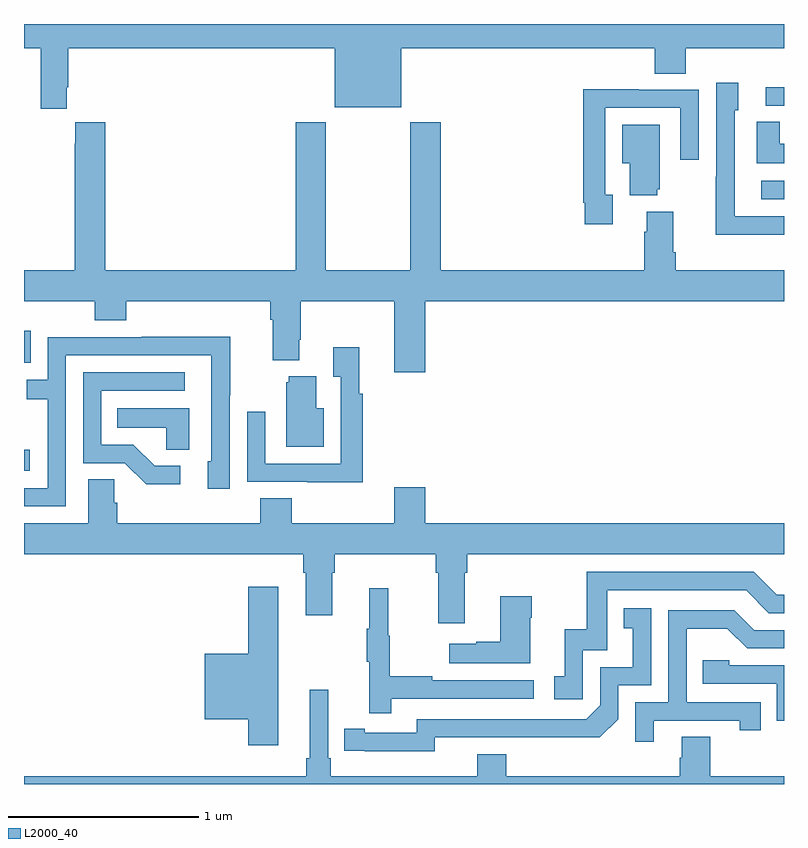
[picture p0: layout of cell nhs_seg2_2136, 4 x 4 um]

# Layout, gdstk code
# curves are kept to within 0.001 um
import gdstk
lib = gdstk.Library(unit=1e-6, precision=1e-09)
def R(c, l, rs):  # rectangles x0, y0, x1, y1
    for r in rs: c.add(gdstk.rectangle(r[:2], r[2:], *l))
def P(c, l, *ps):  # polygons
    for p in ps: c.add(gdstk.Polygon(p, *l))
L2000_40 = (2000, 40)

nhs_seg2_2136 = lib.new_cell('nhs_seg2_2136')
R(nhs_seg2_2136, L2000_40, [(223,609.449,223.03,609.559), (223,610.017,223.035,610.186), (226.881,610.878,227,610.974), (226.905,611.37,227,611.468)])
P(nhs_seg2_2136, L2000_40, [(223.225,611.467),(223.232,611.467),(223.232,611.672),(224.636,611.672),(224.636,611.363),(224.986,611.363),(224.986,611.672),(226.319,611.672),(226.319,611.539),(226.484,611.539),(226.484,611.672),(227,611.672),(227,611.8),(223,611.8),(223,611.672),(223.088,611.672),(223.088,611.355),(223.225,611.355)],
  [(227,610.788),(226.74,610.788),(226.74,611.346),(226.759,611.346),(226.759,611.491),(226.644,611.491),(226.644,610.997),(226.642,610.997),(226.642,610.691),(227,610.691)],
  [(226.099,610.902),(226.059,610.902),(226.059,611.358),(226.455,611.358),(226.455,611.085),(226.551,611.085),(226.551,611.454),(226.235,611.454),(226.235,611.456),(225.943,611.456),(225.943,610.858),(225.951,610.858),(225.951,610.746),(226.099,610.746)],
  [(227,611.17),(226.977,611.17),(226.977,611.285),(226.856,611.285),(226.856,611.066),(227,611.066)],
  [(225.034,610.504),(224.589,610.504),(224.589,611.284),(224.429,611.284),(224.429,610.504),(223.427,610.504),(223.427,611.284),(223.271,611.284),(223.271,611.171),(223.267,611.171),(223.267,610.504),(223,610.504),(223,610.34),(223.373,610.34),(223.373,610.241),(223.538,610.241),(223.538,610.34),(224.297,610.34),(224.297,610.244),(224.309,610.244),(224.309,610.031),(224.449,610.031),(224.449,610.138),(224.457,610.138),(224.457,610.34),(224.948,610.34),(224.948,609.966),(225.112,609.966),(225.112,610.34),(227,610.34),(227,610.504),(226.43,610.504),(226.43,610.6),(226.417,610.6),(226.417,610.813),(226.277,610.813),(226.277,610.706),(226.265,610.706),(226.265,610.504),(225.194,610.504),(225.194,611.284),(225.034,611.284)],
  [(226.334,610.929),(226.345,610.929),(226.345,611.269),(226.148,611.269),(226.148,611.066),(226.187,611.066),(226.187,610.898),(226.334,610.898)],
  [(223.221,610.056),(223.986,610.056),(223.986,609.498),(223.967,609.498),(223.967,609.354),(224.082,609.354),(224.082,609.847),(224.085,609.847),(224.085,610.154),(223.621,610.154),(223.621,610.152),(223.125,610.152),(223.125,609.927),(223.015,609.927),(223.015,609.826),(223.125,609.826),(223.125,609.357),(223,609.357),(223,609.261),(223.221,609.261)],
  [(224.783,609.854),(224.765,609.854),(224.765,610.099),(224.627,610.099),(224.627,609.943),(224.667,609.943),(224.667,609.486),(224.271,609.486),(224.271,609.76),(224.175,609.76),(224.175,609.39),(224.491,609.39),(224.491,609.389),(224.783,609.389)],
  [(223.822,609.474),(223.687,609.474),(223.576,609.585),(223.407,609.585),(223.407,609.87),(223.846,609.87),(223.846,609.966),(223.311,609.966),(223.311,609.489),(223.53,609.489),(223.643,609.377),(223.822,609.377)],
  [(224.578,609.778),(224.539,609.778),(224.539,609.946),(224.393,609.946),(224.393,609.915),(224.381,609.915),(224.381,609.575),(224.578,609.575)],
  [(223.87,609.778),(223.492,609.778),(223.492,609.674),(223.749,609.674),(223.749,609.559),(223.87,609.559)],
  [(225.319,608.912),(225.332,608.912),(225.332,609.008),(227,609.008),(227,609.172),(225.112,609.172),(225.112,609.361),(224.948,609.361),(224.948,609.172),(224.408,609.172),(224.408,609.305),(224.243,609.305),(224.243,609.172),(223.49,609.172),(223.49,609.281),(223.476,609.281),(223.476,609.404),(223.337,609.404),(223.337,609.172),(223,609.172),(223,609.008),(224.471,609.008),(224.471,608.912),(224.483,608.912),(224.483,608.688),(224.623,608.688),(224.623,608.912),(224.636,608.912),(224.636,609.008),(225.167,609.008),(225.167,608.912),(225.179,608.912),(225.179,608.646),(225.319,608.646)],
  [(225.942,608.505),(226.071,608.505),(226.071,608.82),(226.8,608.82),(226.92,608.7),(227,608.7),(227,608.796),(226.962,608.796),(226.842,608.916),(225.963,608.916),(225.963,608.614),(225.845,608.614),(225.845,608.367),(225.792,608.367),(225.792,608.247),(225.942,608.247)],
  [(224.338,608.839),(224.18,608.839),(224.18,608.485),(223.952,608.485),(223.952,608.141),(224.18,608.141),(224.18,608.004),(224.338,608.004)],
  [(224.933,608.25),(225.682,608.25),(225.682,608.346),(225.149,608.346),(225.149,608.366),(224.926,608.366),(224.926,608.58),(224.918,608.58),(224.918,608.83),(224.816,608.83),(224.816,608.617),(224.805,608.617),(224.805,608.443),(224.816,608.443),(224.816,608.172),(224.933,608.172)],
  [(225.664,608.675),(225.672,608.675),(225.672,608.788),(225.506,608.788),(225.506,608.549),(225.38,608.549),(225.38,608.539),(225.237,608.539),(225.237,608.435),(225.664,608.435)],
  [(225.162,608.046),(226.03,608.045),(226.128,608.142),(226.128,608.319),(226.302,608.319),(226.302,608.725),(226.156,608.725),(226.156,608.619),(226.205,608.619),(226.205,608.415),(226.032,608.415),(226.032,608.214),(225.96,608.142),(225.066,608.142),(225.066,608.07),(224.794,608.07),(224.794,608.09),(224.686,608.09),(224.686,607.974),(225.162,607.973)],
  [(226.315,608.133),(226.766,608.133),(226.766,608.082),(226.877,608.082),(226.877,608.229),(226.488,608.229),(226.488,608.618),(226.702,608.618),(226.806,608.514),(227,608.514),(227,608.61),(226.843,608.61),(226.738,608.715),(226.392,608.715),(226.392,608.229),(226.218,608.229),(226.218,608.022),(226.315,608.022)],
  [(227,608.424),(226.713,608.424),(226.713,608.451),(226.573,608.451),(226.573,608.328),(226.962,608.328),(226.962,608.133),(227,608.133)],
  [(224.504,608.296),(224.504,607.936),(224.485,607.936),(224.485,607.84),(223,607.84),(223,607.8),(227,607.8),(227,607.84),(226.611,607.84),(226.611,608.048),(226.463,608.048),(226.463,607.938),(226.451,607.938),(226.451,607.84),(225.539,607.84),(225.539,607.957),(225.386,607.957),(225.386,607.84),(224.615,607.84),(224.615,607.936),(224.601,607.936),(224.601,608.296)])

lib.write_gds('nhs_seg2_2136.gds')
